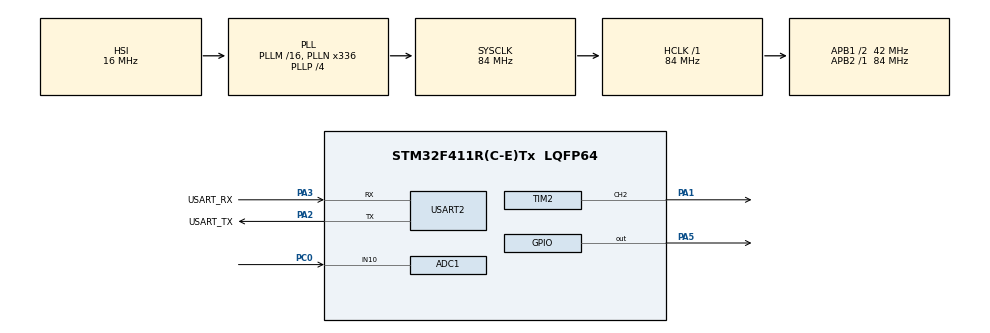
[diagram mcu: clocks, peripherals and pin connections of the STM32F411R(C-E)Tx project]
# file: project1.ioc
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ADC1.Channel-4\#ChannelRegularConversion=ADC_CHANNEL_10
ADC1.NbrOfConversionFlag=1
ADC1.Rank-4\#ChannelRegularConversion=1
ADC1.SamplingTime-4\#ChannelRegularConversion=ADC_SAMPLETIME_3CYCLES
ADC1.master=1
Mcu.Family=STM32F4
Mcu.Name=STM32F411R(C-E)Tx
Mcu.Package=LQFP64
NVIC.PriorityGroup=NVIC_PRIORITYGROUP_0
PA1.Signal=S_TIM2_CH2
PA14.GPIO_Label=TCK
PA14.Signal=SYS_JTCK-SWCLK
PA2.GPIO_Label=USART_TX
PA2.Mode=Asynchronous
PA2.Signal=USART2_TX
PA3.GPIO_Label=USART_RX
PA3.Mode=Asynchronous
PA3.Signal=USART2_RX
PA5.Signal=GPIO_Output
PB3.GPIO_Label=SWO
PB3.Signal=SYS_JTDO-SWO
PC0.Signal=ADCx_IN10
PC14-OSC32_IN.Mode=LSE-External-Oscillator
PC14-OSC32_IN.Signal=RCC_OSC32_IN
PC15-OSC32_OUT.Mode=LSE-External-Oscillator
PC15-OSC32_OUT.Signal=RCC_OSC32_OUT
PH0\ -\ OSC_IN.Mode=HSE-External-Clock-Source
PH0\ -\ OSC_IN.Signal=RCC_OSC_IN
PH1\ -\ OSC_OUT.Mode=HSE-External-Clock-Source
PH1\ -\ OSC_OUT.Signal=RCC_OSC_OUT
ProjectManager.HeapSize=0x200
ProjectManager.StackSize=0x400
ProjectManager.TargetToolchain=STM32CubeIDE
RCC.48MHZClocksFreq_Value=84000000
RCC.AHBFreq_Value=84000000
RCC.APB1CLKDivider=RCC_HCLK_DIV2
RCC.APB1Freq_Value=42000000
RCC.APB1TimFreq_Value=84000000
RCC.APB2Freq_Value=84000000
RCC.APB2TimFreq_Value=84000000
RCC.CortexFreq_Value=84000000
RCC.FLatency-AdvancedSettings=FLASH_LATENCY_2
RCC.HCLKFreq_Value=84000000
RCC.HSE_VALUE=8000000
RCC.HSI_VALUE=16000000
RCC.PLLN=336
RCC.PLLP=RCC_PLLP_DIV4
RCC.SYSCLKFreq_VALUE=84000000
RCC.SYSCLKSource=RCC_SYSCLKSOURCE_PLLCLK
RCC.VCOOutputFreq_Value=336000000
SH.ADCx_IN10.0=ADC1_IN10,IN10
SH.S_TIM2_CH2.0=TIM2_CH2,PWM Generation2 CH2
TIM2.Channel-PWM\ Generation2\ CH2=TIM_CHANNEL_2
TIM2.Period=1000
TIM2.Prescaler=16 
USART2.VirtualMode=VM_ASYNC
VP_TIM2_VS_ClockSourceINT.Mode=Internal
board=NUCLEO-F411RE

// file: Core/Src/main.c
/* USER CODE BEGIN Header */
/**
  ******************************************************************************
  * @file           : main.c
  * @brief          : Main program body
  ******************************************************************************
  * @attention
  *
  * Copyright (c) 2026 STMicroelectronics.
  * All rights reserved.
  *
  * This software is licensed under terms that can be found in the LICENSE file
  * in the root directory of this software component.
  * If no LICENSE file comes with this software, it is provided AS-IS.
  *
  ******************************************************************************
  */
/* USER CODE END Header */
#include "main.h"

/* USER CODE BEGIN Includes */
#include <stdio.h>
#include <string.h>
/* USER CODE END Includes */

ADC_HandleTypeDef hadc1;

TIM_HandleTypeDef htim2;

UART_HandleTypeDef huart2;

void SystemClock_Config(void);
static void MX_GPIO_Init(void);
static void MX_USART2_UART_Init(void);
static void MX_ADC1_Init(void);
static void MX_TIM2_Init(void);

int main(void)
{

  /* USER CODE BEGIN 1 */
	uint32_t adc_val = 0;
	char msg[30];
	/* USER CODE BEGIN 2 */

	/* USER CODE END 2 */
  /* USER CODE END 1 */

  /* MCU Configuration--------------------------------------------------------*/

  /* Reset of all peripherals, Initializes the Flash interface and the Systick. */
  HAL_Init();

  /* Configure the system clock */
  SystemClock_Config();

  /* Initialize all configured peripherals */
  MX_GPIO_Init();
  MX_USART2_UART_Init();
  MX_ADC1_Init();
  MX_TIM2_Init();
  /* USER CODE BEGIN 2 */
	HAL_TIM_PWM_Start(&htim2, TIM_CHANNEL_2);
  /* USER CODE END 2 */

  /* Infinite loop */
  /* USER CODE BEGIN WHILE */
  while (1)
    {
	  /* USER CODE BEGIN WHILE */
	  /* USER CODE BEGIN WHILE */

	  /* USER CODE BEGIN WHILE */

	        // 1. Odczyt ADC
	        HAL_ADC_Start(&hadc1);
	        if (HAL_ADC_PollForConversion(&hadc1, 10) == HAL_OK) {
	            adc_val = HAL_ADC_GetValue(&hadc1);
	        }
	        HAL_ADC_Stop(&hadc1);

	        if (adc_val < 800) {

	            __HAL_TIM_SET_COMPARE(&htim2, TIM_CHANNEL_2, 1000);
	            sprintf(msg, "ADC: %lu | CIEMNO - Dioda swieci\r\n", adc_val);
	        } else {

	            __HAL_TIM_SET_COMPARE(&htim2, TIM_CHANNEL_2, 0);
	            sprintf(msg, "ADC: %lu | JASNO  - Dioda zgaszona\r\n", adc_val);
	        }

	        HAL_UART_Transmit(&huart2, (uint8_t*)msg, strlen(msg), 10);

	        HAL_Delay(500);

	        /* USER CODE END WHILE */

	        /* USER CODE END WHILE */
    /* USER CODE END WHILE */

    }
}

void SystemClock_Config(void)
{
  RCC_OscInitTypeDef RCC_OscInitStruct = {0};
  RCC_ClkInitTypeDef RCC_ClkInitStruct = {0};

  /** Configure the main internal regulator output voltage
  */
  __HAL_RCC_PWR_CLK_ENABLE();
  __HAL_PWR_VOLTAGESCALING_CONFIG(PWR_REGULATOR_VOLTAGE_SCALE1);

  /** Initializes the RCC Oscillators according to the specified parameters
  * in the RCC_OscInitTypeDef structure.
  */
  RCC_OscInitStruct.OscillatorType = RCC_OSCILLATORTYPE_HSI;
  RCC_OscInitStruct.HSIState = RCC_HSI_ON;
  RCC_OscInitStruct.HSICalibrationValue = RCC_HSICALIBRATION_DEFAULT;
  RCC_OscInitStruct.PLL.PLLState = RCC_PLL_ON;
  RCC_OscInitStruct.PLL.PLLSource = RCC_PLLSOURCE_HSI;
  RCC_OscInitStruct.PLL.PLLM = 16;
  RCC_OscInitStruct.PLL.PLLN = 336;
  RCC_OscInitStruct.PLL.PLLP = RCC_PLLP_DIV4;
  RCC_OscInitStruct.PLL.PLLQ = 4;
  if (HAL_RCC_OscConfig(&RCC_OscInitStruct) != HAL_OK)
  {
    Error_Handler();
  }

  /** Initializes the CPU, AHB and APB buses clocks
  */
  RCC_ClkInitStruct.ClockType = RCC_CLOCKTYPE_HCLK|RCC_CLOCKTYPE_SYSCLK
                              |RCC_CLOCKTYPE_PCLK1|RCC_CLOCKTYPE_PCLK2;
  RCC_ClkInitStruct.SYSCLKSource = RCC_SYSCLKSOURCE_PLLCLK;
  RCC_ClkInitStruct.AHBCLKDivider = RCC_SYSCLK_DIV1;
  RCC_ClkInitStruct.APB1CLKDivider = RCC_HCLK_DIV2;
  RCC_ClkInitStruct.APB2CLKDivider = RCC_HCLK_DIV1;

  if (HAL_RCC_ClockConfig(&RCC_ClkInitStruct, FLASH_LATENCY_2) != HAL_OK)
  {
    Error_Handler();
  }
}

static void MX_ADC1_Init(void)
{

  ADC_ChannelConfTypeDef sConfig = {0};

  /** Configure the global features of the ADC (Clock, Resolution, Data Alignment and number of conversion)
  */
  hadc1.Instance = ADC1;
  hadc1.Init.ClockPrescaler = ADC_CLOCK_SYNC_PCLK_DIV4;
  hadc1.Init.Resolution = ADC_RESOLUTION_12B;
  hadc1.Init.ScanConvMode = DISABLE;
  hadc1.Init.ContinuousConvMode = DISABLE;
  hadc1.Init.DiscontinuousConvMode = DISABLE;
  hadc1.Init.ExternalTrigConvEdge = ADC_EXTERNALTRIGCONVEDGE_NONE;
  hadc1.Init.ExternalTrigConv = ADC_SOFTWARE_START;
  hadc1.Init.DataAlign = ADC_DATAALIGN_RIGHT;
  hadc1.Init.NbrOfConversion = 1;
  hadc1.Init.DMAContinuousRequests = DISABLE;
  hadc1.Init.EOCSelection = ADC_EOC_SINGLE_CONV;
  if (HAL_ADC_Init(&hadc1) != HAL_OK)
  {
    Error_Handler();
  }

  /** Configure for the selected ADC regular channel its corresponding rank in the sequencer and its sample time.
  */
  sConfig.Channel = ADC_CHANNEL_10;
  sConfig.Rank = 1;
  sConfig.SamplingTime = ADC_SAMPLETIME_3CYCLES;
  if (HAL_ADC_ConfigChannel(&hadc1, &sConfig) != HAL_OK)
  {
    Error_Handler();
  }

}

static void MX_TIM2_Init(void)
{

  TIM_ClockConfigTypeDef sClockSourceConfig = {0};
  TIM_MasterConfigTypeDef sMasterConfig = {0};
  TIM_OC_InitTypeDef sConfigOC = {0};

  htim2.Instance = TIM2;
  htim2.Init.Prescaler = 16 ;
  htim2.Init.CounterMode = TIM_COUNTERMODE_UP;
  htim2.Init.Period = 1000;
  htim2.Init.ClockDivision = TIM_CLOCKDIVISION_DIV1;
  htim2.Init.AutoReloadPreload = TIM_AUTORELOAD_PRELOAD_DISABLE;
  if (HAL_TIM_Base_Init(&htim2) != HAL_OK)
  {
    Error_Handler();
  }
  sClockSourceConfig.ClockSource = TIM_CLOCKSOURCE_INTERNAL;
  if (HAL_TIM_ConfigClockSource(&htim2, &sClockSourceConfig) != HAL_OK)
  {
    Error_Handler();
  }
  if (HAL_TIM_PWM_Init(&htim2) != HAL_OK)
  {
    Error_Handler();
  }
  sMasterConfig.MasterOutputTrigger = TIM_TRGO_RESET;
  sMasterConfig.MasterSlaveMode = TIM_MASTERSLAVEMODE_DISABLE;
  if (HAL_TIMEx_MasterConfigSynchronization(&htim2, &sMasterConfig) != HAL_OK)
  {
    Error_Handler();
  }
  sConfigOC.OCMode = TIM_OCMODE_PWM1;
  sConfigOC.Pulse = 0;
  sConfigOC.OCPolarity = TIM_OCPOLARITY_HIGH;
  sConfigOC.OCFastMode = TIM_OCFAST_DISABLE;
  if (HAL_TIM_PWM_ConfigChannel(&htim2, &sConfigOC, TIM_CHANNEL_2) != HAL_OK)
  {
    Error_Handler();
  }
  HAL_TIM_MspPostInit(&htim2);

}

static void MX_USART2_UART_Init(void)
{

  huart2.Instance = USART2;
  huart2.Init.BaudRate = 115200;
  huart2.Init.WordLength = UART_WORDLENGTH_8B;
  huart2.Init.StopBits = UART_STOPBITS_1;
  huart2.Init.Parity = UART_PARITY_NONE;
  huart2.Init.Mode = UART_MODE_TX_RX;
  huart2.Init.HwFlowCtl = UART_HWCONTROL_NONE;
  huart2.Init.OverSampling = UART_OVERSAMPLING_16;
  if (HAL_UART_Init(&huart2) != HAL_OK)
  {
    Error_Handler();
  }

}

static void MX_GPIO_Init(void)
{
  GPIO_InitTypeDef GPIO_InitStruct = {0};

  /* GPIO Ports Clock Enable */
  __HAL_RCC_GPIOC_CLK_ENABLE();
  __HAL_RCC_GPIOH_CLK_ENABLE();
  __HAL_RCC_GPIOA_CLK_ENABLE();
  __HAL_RCC_GPIOB_CLK_ENABLE();

  /*Configure GPIO pin Output Level */
  HAL_GPIO_WritePin(GPIOA, GPIO_PIN_5, GPIO_PIN_RESET);

  /*Configure GPIO pin : PA5 */
  GPIO_InitStruct.Pin = GPIO_PIN_5;
  GPIO_InitStruct.Mode = GPIO_MODE_OUTPUT_PP;
  GPIO_InitStruct.Pull = GPIO_NOPULL;
  GPIO_InitStruct.Speed = GPIO_SPEED_FREQ_LOW;
  HAL_GPIO_Init(GPIOA, &GPIO_InitStruct);

}

void Error_Handler(void)
{
  __disable_irq();
  while (1)
  {
  }
}
